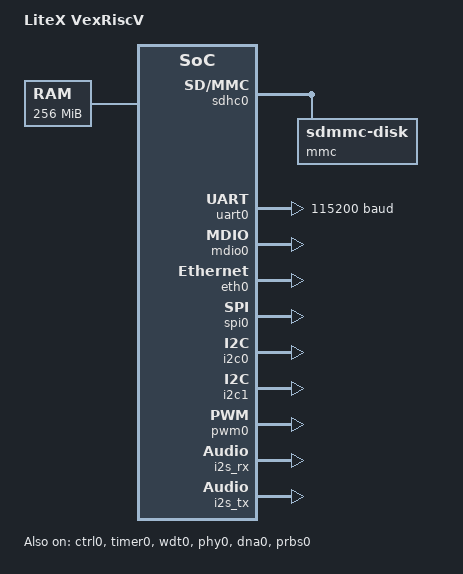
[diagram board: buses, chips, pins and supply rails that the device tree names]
/*
 * Copyright (c) 2018 - 2019 Antmicro <www.antmicro.com>
 *
 * SPDX-License-Identifier: Apache-2.0
 */

/dts-v1/;

#include <riscv32-litex-vexriscv.dtsi>

/ {
	model = "LiteX VexRiscV";
	compatible = "litex,vexriscv";

	chosen {
		zephyr,console = &uart0;
		zephyr,shell-uart = &uart0;
		zephyr,sram = &ram0;
	};

	aliases {
		watchdog0 = &wdt0;
	};

	ram0: memory@40000000 {
		device_type = "memory";
		reg = <0x40000000 0x10000000>;
	};

	soc {
		sdhc0: sdhc@e000e800 {
			compatible = "litex,litesdcard-sdhc";
			interrupt-parent = <&intc0>;
			reg = <0xe000e800 0x4>,
				<0xe000e804 0x4>,
				<0xe000e808 0x4>,
				<0xe000e80c 0x4>,
				<0xe000e810 0x4>,
				<0xe000e814 0x4>,
				<0xe000e818 0x4>,
				<0xe000e81c 0x4>,
				<0xe000e820 0x4>,
				<0xe000e824 0x4>,
				<0xe000e828 0x10>,
				<0xe000e838 0x4>,
				<0xe000e83c 0x4>,
				<0xe000e840 0x4>,
				<0xe000e844 0x4>,
				<0xe000e848 0x8>,
				<0xe000e850 0x4>,
				<0xe000e854 0x4>,
				<0xe000e858 0x4>,
				<0xe000e85c 0x4>,
				<0xe000e860 0x4>,
				<0xe000e864 0x8>,
				<0xe000e86c 0x4>,
				<0xe000e870 0x4>,
				<0xe000e874 0x4>,
				<0xe000e878 0x4>,
				<0xe000e87c 0x4>,
				<0xe000e880 0x4>,
				<0xe000e884 0x4>,
				<0xe000e888 0x4>;
			reg-names = "phy_card_detect",
				"phy_clocker_divider",
				"phy_init_initialize",
				"phy_cmdr_timeout",
				"phy_dataw_status",
				"phy_datar_timeout",
				"phy_settings",
				"core_cmd_argument",
				"core_cmd_command",
				"core_cmd_send",
				"core_cmd_response",
				"core_cmd_event",
				"core_data_event",
				"core_block_length",
				"core_block_count",
				"block2mem_dma_base",
				"block2mem_dma_length",
				"block2mem_dma_enable",
				"block2mem_dma_done",
				"block2mem_dma_loop",
				"block2mem_dma_offset",
				"mem2block_dma_base",
				"mem2block_dma_length",
				"mem2block_dma_enable",
				"mem2block_dma_done",
				"mem2block_dma_loop",
				"mem2block_dma_offset",
				"ev_status",
				"ev_pending",
				"ev_enable";
			interrupts = <5 1>;
			status = "okay";
			mmc {
				compatible = "zephyr,sdmmc-disk";
				status = "okay";
				disk-name = "SD";
			};
		};
	};
};

&ctrl0 {
	status = "okay";
};

&uart0 {
	status = "okay";
	current-speed = <115200>;
};

&timer0 {
	status = "okay";
};

&wdt0 {
	status = "okay";
};

&mdio0 {
	status = "okay";
};

&phy0 {
	status = "okay";
};

&eth0 {
	status = "okay";
};

&dna0 {
	status = "okay";
};

&spi0 {
	status = "okay";
};

&prbs0 {
	status = "okay";
};

&i2c0 {
	status = "okay";
};

&i2c1 {
	status = "okay";
};

&pwm0 {
	status = "okay";
};

&gpio_out {
	status = "okay";
};

&gpio_in {
	status = "okay";
};

&i2s_rx {
	status = "okay";
};

&i2s_tx {
	status = "okay";
};

&clk0 {
	status = "okay";
};

&clk1 {
	status = "okay";
};

&clock0 {
	status = "okay";
};
